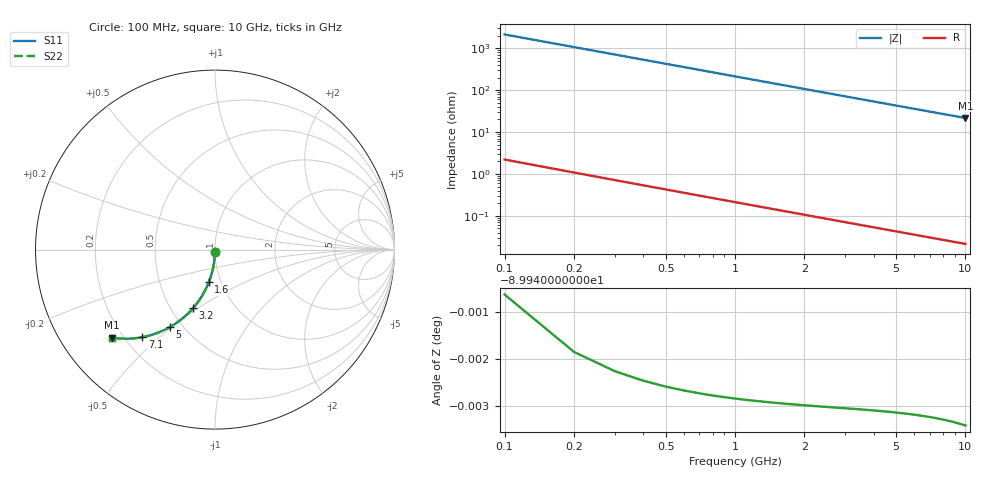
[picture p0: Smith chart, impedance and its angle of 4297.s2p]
# Hz S RI R 50.00
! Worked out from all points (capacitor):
!   100 points, 100 MHz to 10 GHz, reference 50 ohm
!   read as one part in shunt: C = 746 fF near 100 MHz
!   lowest |Z| = 21.7 ohm at 10 GHz (marker M1)
!   S11 on the Smith chart (normalised r, x): 100 MHz: 1.00, -0.02; 1.6 GHz: 0.88, -0.33; 3.2 GHz: 0.64, -0.48; 5 GHz: 0.43, -0.49; 7.1 GHz: 0.27, -0.44; 10 GHz: 0.16, -0.36
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1e8  -0.000142 -0.0117  0.9998 -0.0118  0.9998 -0.0118  -0.000142 -0.0117
2e8  -0.000566 -0.0234  0.9994 -0.0235  0.9994 -0.0235  -0.000566 -0.0234
3e8  -0.00126 -0.035  0.9987 -0.0352  0.9987 -0.0352  -0.00126 -0.035
4e8  -0.00223 -0.0466  0.9978 -0.0469  0.9978 -0.0469  -0.00223 -0.0466
5e8  -0.00347 -0.0582  0.9965 -0.0586  0.9965 -0.0586  -0.00347 -0.0582
6e8  -0.00498 -0.0698  0.995 -0.0702  0.995 -0.0702  -0.00498 -0.0698
7e8  -0.00676 -0.0812  0.9932 -0.0817  0.9932 -0.0817  -0.00676 -0.0812
9e8  -0.0111 -0.104  0.9889 -0.1046  0.9889 -0.1046  -0.0111 -0.104
1.2e9  -0.0195 -0.1374  0.9805 -0.1382  0.9805 -0.1382  -0.0195 -0.1374
1.6e9  -0.0341 -0.1803  0.9659 -0.1814  0.9659 -0.1814  -0.0341 -0.1803
1.8e9  -0.0427 -0.201  0.9573 -0.2022  0.9573 -0.2022  -0.0427 -0.201
2.4e9  -0.0732 -0.2592  0.9268 -0.2608  0.9268 -0.2608  -0.0732 -0.2592
2.8e9  -0.0969 -0.2944  0.9031 -0.2963  0.9031 -0.2963  -0.0969 -0.2944
3.2e9  -0.1228 -0.3266  0.8772 -0.3288  0.8772 -0.3288  -0.1228 -0.3266
3.4e9  -0.1363 -0.3415  0.8636 -0.3438  0.8636 -0.3438  -0.1363 -0.3415
4.2e9  -0.1937 -0.3932  0.8063 -0.3961  0.8063 -0.3961  -0.1937 -0.3932
5e9  -0.2534 -0.4327  0.7466 -0.4362  0.7466 -0.4362  -0.2534 -0.4327
5.1e9  -0.2609 -0.4369  0.739 -0.4404  0.739 -0.4404  -0.2609 -0.4369
6.7e9  -0.3775 -0.4819  0.6225 -0.4866  0.6225 -0.4866  -0.3775 -0.4819
7.1e9  -0.4049 -0.4879  0.5951 -0.4929  0.5951 -0.4929  -0.4049 -0.4879
8.4e9  -0.487 -0.4964  0.513 -0.5023  0.513 -0.5023  -0.487 -0.4964
1e10  -0.5729 -0.4906  0.4271 -0.4977  0.4271 -0.4977  -0.5729 -0.4906
